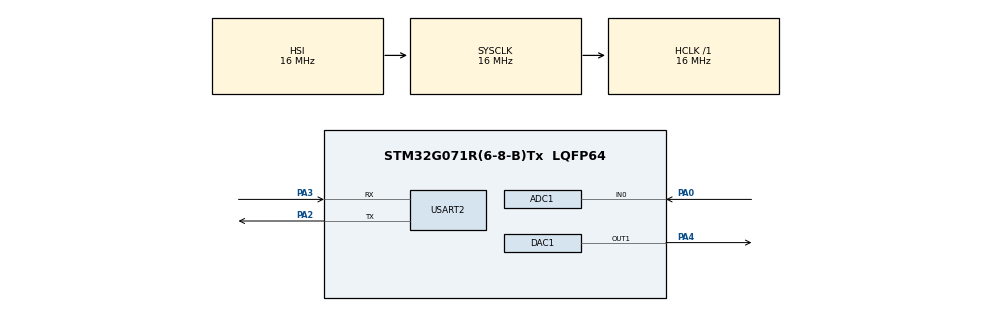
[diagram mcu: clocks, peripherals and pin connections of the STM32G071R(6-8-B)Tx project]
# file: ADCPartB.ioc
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ADC1.Channel-0\#ChannelRegularConversion=ADC_CHANNEL_0
ADC1.ExternalTrigConv=ADC_SOFTWARE_START
ADC1.NbrOfConversionFlag=1
ADC1.Rank-0\#ChannelRegularConversion=1
ADC1.SamplingTime-0\#ChannelRegularConversion=ADC_SAMPLINGTIME_COMMON_1
ADC1.SamplingTimeCommon1=ADC_SAMPLETIME_3CYCLES_5
ADC1.SamplingTimeCommon2=ADC_SAMPLETIME_3CYCLES_5
ADC1.SelectedChannel=ADC_CHANNEL_0
ADC1.master=1
DAC1.DAC_Channel-DAC_OUT1=DAC_CHANNEL_1
Mcu.Family=STM32G0
Mcu.Name=STM32G071R(6-8-B)Tx
Mcu.Package=LQFP64
NVIC.TIM3_IRQn=true\:0\:0\:false\:false\:true\:true\:true\:true
PA0.Mode=IN0
PA0.Signal=ADC1_IN0
PA2.Mode=Asynchronous
PA2.Signal=USART2_TX
PA3.Mode=Asynchronous
PA3.Signal=USART2_RX
PA4.Signal=COMP_DAC11_group
ProjectManager.HeapSize=0x200
ProjectManager.StackSize=0x400
ProjectManager.TargetToolchain=STM32CubeIDE
RCC.AHBFreq_Value=16000000
RCC.CortexFreq_Value=16000000
RCC.EXTERNAL_CLOCK_VALUE=48000
RCC.HCLKFreq_Value=16000000
RCC.HSE_VALUE=8000000
RCC.HSI_VALUE=16000000
RCC.LSE_VALUE=32768
RCC.SYSCLKFreq_VALUE=16000000
RCC.VCOOutputFreq_Value=128000000
SH.COMP_DAC11_group.0=DAC1_OUT1,DAC_OUT1
TIM3.Period=4999
USART2.VirtualMode-Asynchronous=VM_ASYNC
VP_TIM3_VS_ClockSourceINT.Mode=Internal
board=custom

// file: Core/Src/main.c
/* USER CODE BEGIN Header */
/**
  ******************************************************************************
  * @file           : main.c
  * @brief          : Main program body
  ******************************************************************************
  * @attention
  *
  * Copyright (c) 2024 STMicroelectronics.
  * All rights reserved.
  *
  * This software is licensed under terms that can be found in the LICENSE file
  * in the root directory of this software component.
  * If no LICENSE file comes with this software, it is provided AS-IS.
  *
  ******************************************************************************
  */
/* USER CODE END Header */
#include "main.h"

#include <stdio.h>
#include <stdbool.h>

/* USER CODE BEGIN PD */

#define NUMBER_OF_SAMPLES 1
#define NUMBER_OF_INPUTS 1
#define NUMBER_OF_CONVERSIONS (NUMBER_OF_SAMPLES*NUMBER_OF_INPUTS)

/* USER CODE END PD */

ADC_HandleTypeDef hadc1;

DAC_HandleTypeDef hdac1;

TIM_HandleTypeDef htim3;

UART_HandleTypeDef huart2;

/* USER CODE BEGIN PV */
uint16_t ADCBuffer[NUMBER_OF_CONVERSIONS];
uint16_t ADCBufferIndex = 0;
bool ADCConversionComplete =false;

/* USER CODE END PV */

void SystemClock_Config(void);
static void MX_GPIO_Init(void);
static void MX_TIM3_Init(void);
static void MX_ADC1_Init(void);
static void MX_USART2_UART_Init(void);
static void MX_DAC1_Init(void);

int main(void)
{

  /* MCU Configuration--------------------------------------------------------*/

  /* Reset of all peripherals, Initializes the Flash interface and the Systick. */
  HAL_Init();

  /* Configure the system clock */
  SystemClock_Config();

  /* Initialize all configured peripherals */
  MX_GPIO_Init();
  MX_TIM3_Init();
  MX_ADC1_Init();
  MX_USART2_UART_Init();
  MX_DAC1_Init();
  /* USER CODE BEGIN 2 */

  if(HAL_ADCEx_Calibration_Start(&hadc1) != HAL_OK){
	  Error_Handler();
  }

  if(HAL_ADC_Start_DMA(&hadc1,(uint32_t *) ADCBuffer, NUMBER_OF_CONVERSIONS) != HAL_OK){
  	  Error_Handler();
    }

  if(HAL_TIM_Base_Start_IT(&htim3)!=HAL_OK){
	  Error_Handler();
  }
  if(HAL_DAC_Start(&hdac1,DAC_CHANNEL_1)!=HAL_OK){
	  Error_Handler();
  }

  uint8_t OutputBuffer[32];
  /* USER CODE END 2 */

  /* Infinite loop */
  /* USER CODE BEGIN WHILE */
  while (1)
  {
	  if(ADCConversionComplete){
		  ADCConversionComplete = false;
		  if(HAL_ADC_Start_DMA(&hadc1,(uint32_t *)ADCBuffer,NUMBER_OF_CONVERSIONS) != HAL_OK){
		    	  Error_Handler();
		      }
	  	  }
    /* USER CODE END WHILE */

  }
}

void SystemClock_Config(void)
{
  RCC_OscInitTypeDef RCC_OscInitStruct = {0};
  RCC_ClkInitTypeDef RCC_ClkInitStruct = {0};

  /** Configure the main internal regulator output voltage
  */
  HAL_PWREx_ControlVoltageScaling(PWR_REGULATOR_VOLTAGE_SCALE1);

  /** Initializes the RCC Oscillators according to the specified parameters
  * in the RCC_OscInitTypeDef structure.
  */
  RCC_OscInitStruct.OscillatorType = RCC_OSCILLATORTYPE_HSI;
  RCC_OscInitStruct.HSIState = RCC_HSI_ON;
  RCC_OscInitStruct.HSIDiv = RCC_HSI_DIV1;
  RCC_OscInitStruct.HSICalibrationValue = RCC_HSICALIBRATION_DEFAULT;
  RCC_OscInitStruct.PLL.PLLState = RCC_PLL_NONE;
  if (HAL_RCC_OscConfig(&RCC_OscInitStruct) != HAL_OK)
  {
    Error_Handler();
  }

  /** Initializes the CPU, AHB and APB buses clocks
  */
  RCC_ClkInitStruct.ClockType = RCC_CLOCKTYPE_HCLK|RCC_CLOCKTYPE_SYSCLK
                              |RCC_CLOCKTYPE_PCLK1;
  RCC_ClkInitStruct.SYSCLKSource = RCC_SYSCLKSOURCE_HSI;
  RCC_ClkInitStruct.AHBCLKDivider = RCC_SYSCLK_DIV1;
  RCC_ClkInitStruct.APB1CLKDivider = RCC_HCLK_DIV1;

  if (HAL_RCC_ClockConfig(&RCC_ClkInitStruct, FLASH_LATENCY_0) != HAL_OK)
  {
    Error_Handler();
  }
}

static void MX_ADC1_Init(void)
{

  ADC_ChannelConfTypeDef sConfig = {0};

  /** Configure the global features of the ADC (Clock, Resolution, Data Alignment and number of conversion)
  */
  hadc1.Instance = ADC1;
  hadc1.Init.ClockPrescaler = ADC_CLOCK_SYNC_PCLK_DIV2;
  hadc1.Init.Resolution = ADC_RESOLUTION_12B;
  hadc1.Init.DataAlign = ADC_DATAALIGN_RIGHT;
  hadc1.Init.ScanConvMode = ADC_SCAN_DISABLE;
  hadc1.Init.EOCSelection = ADC_EOC_SINGLE_CONV;
  hadc1.Init.LowPowerAutoWait = DISABLE;
  hadc1.Init.LowPowerAutoPowerOff = DISABLE;
  hadc1.Init.ContinuousConvMode = DISABLE;
  hadc1.Init.NbrOfConversion = 1;
  hadc1.Init.DiscontinuousConvMode = DISABLE;
  hadc1.Init.ExternalTrigConv = ADC_SOFTWARE_START;
  hadc1.Init.ExternalTrigConvEdge = ADC_EXTERNALTRIGCONVEDGE_NONE;
  hadc1.Init.DMAContinuousRequests = DISABLE;
  hadc1.Init.Overrun = ADC_OVR_DATA_PRESERVED;
  hadc1.Init.SamplingTimeCommon1 = ADC_SAMPLETIME_3CYCLES_5;
  hadc1.Init.SamplingTimeCommon2 = ADC_SAMPLETIME_3CYCLES_5;
  hadc1.Init.OversamplingMode = DISABLE;
  hadc1.Init.TriggerFrequencyMode = ADC_TRIGGER_FREQ_HIGH;
  if (HAL_ADC_Init(&hadc1) != HAL_OK)
  {
    Error_Handler();
  }

  /** Configure Regular Channel
  */
  sConfig.Channel = ADC_CHANNEL_0;
  sConfig.Rank = ADC_REGULAR_RANK_1;
  sConfig.SamplingTime = ADC_SAMPLINGTIME_COMMON_1;
  if (HAL_ADC_ConfigChannel(&hadc1, &sConfig) != HAL_OK)
  {
    Error_Handler();
  }

}

static void MX_DAC1_Init(void)
{

  DAC_ChannelConfTypeDef sConfig = {0};

  /** DAC Initialization
  */
  hdac1.Instance = DAC1;
  if (HAL_DAC_Init(&hdac1) != HAL_OK)
  {
    Error_Handler();
  }

  /** DAC channel OUT1 config
  */
  sConfig.DAC_SampleAndHold = DAC_SAMPLEANDHOLD_DISABLE;
  sConfig.DAC_Trigger = DAC_TRIGGER_NONE;
  sConfig.DAC_OutputBuffer = DAC_OUTPUTBUFFER_ENABLE;
  sConfig.DAC_ConnectOnChipPeripheral = DAC_CHIPCONNECT_DISABLE;
  sConfig.DAC_UserTrimming = DAC_TRIMMING_FACTORY;
  if (HAL_DAC_ConfigChannel(&hdac1, &sConfig, DAC_CHANNEL_1) != HAL_OK)
  {
    Error_Handler();
  }

}

static void MX_TIM3_Init(void)
{

  TIM_ClockConfigTypeDef sClockSourceConfig = {0};
  TIM_MasterConfigTypeDef sMasterConfig = {0};

  htim3.Instance = TIM3;
  htim3.Init.Prescaler = 0;
  htim3.Init.CounterMode = TIM_COUNTERMODE_UP;
  htim3.Init.Period = 4999;
  htim3.Init.ClockDivision = TIM_CLOCKDIVISION_DIV1;
  htim3.Init.AutoReloadPreload = TIM_AUTORELOAD_PRELOAD_DISABLE;
  if (HAL_TIM_Base_Init(&htim3) != HAL_OK)
  {
    Error_Handler();
  }
  sClockSourceConfig.ClockSource = TIM_CLOCKSOURCE_INTERNAL;
  if (HAL_TIM_ConfigClockSource(&htim3, &sClockSourceConfig) != HAL_OK)
  {
    Error_Handler();
  }
  sMasterConfig.MasterOutputTrigger = TIM_TRGO_RESET;
  sMasterConfig.MasterSlaveMode = TIM_MASTERSLAVEMODE_DISABLE;
  if (HAL_TIMEx_MasterConfigSynchronization(&htim3, &sMasterConfig) != HAL_OK)
  {
    Error_Handler();
  }

}

static void MX_USART2_UART_Init(void)
{

  huart2.Instance = USART2;
  huart2.Init.BaudRate = 115200;
  huart2.Init.WordLength = UART_WORDLENGTH_8B;
  huart2.Init.StopBits = UART_STOPBITS_1;
  huart2.Init.Parity = UART_PARITY_NONE;
  huart2.Init.Mode = UART_MODE_TX_RX;
  huart2.Init.HwFlowCtl = UART_HWCONTROL_NONE;
  huart2.Init.OverSampling = UART_OVERSAMPLING_16;
  huart2.Init.OneBitSampling = UART_ONE_BIT_SAMPLE_DISABLE;
  huart2.Init.ClockPrescaler = UART_PRESCALER_DIV1;
  huart2.AdvancedInit.AdvFeatureInit = UART_ADVFEATURE_NO_INIT;
  if (HAL_UART_Init(&huart2) != HAL_OK)
  {
    Error_Handler();
  }
  if (HAL_UARTEx_SetTxFifoThreshold(&huart2, UART_TXFIFO_THRESHOLD_1_8) != HAL_OK)
  {
    Error_Handler();
  }
  if (HAL_UARTEx_SetRxFifoThreshold(&huart2, UART_RXFIFO_THRESHOLD_1_8) != HAL_OK)
  {
    Error_Handler();
  }
  if (HAL_UARTEx_DisableFifoMode(&huart2) != HAL_OK)
  {
    Error_Handler();
  }

}

static void MX_GPIO_Init(void)
{

  /* GPIO Ports Clock Enable */
  __HAL_RCC_GPIOA_CLK_ENABLE();

}

/* USER CODE BEGIN 4 */

//void HAL_ADC_ConvCpltCallback(ADC_HandleTypeDef *hadc){
//	if (HAL_ADC_Stop_DMA(hadc)!=HAL_OK){
//		Error_Handler();
//	}
//	HAL_DAC_SetValue(&hdac1, DAC_CHANNEL_1,DAC_ALIGN_12B_R,ADCBuffer[ADCBufferIndex]);
//	ADCConversionComplete =true;
//
//}

/* USER CODE END 4 */

void Error_Handler(void)
{
  __disable_irq();
  while (1)
  {
  }
}
